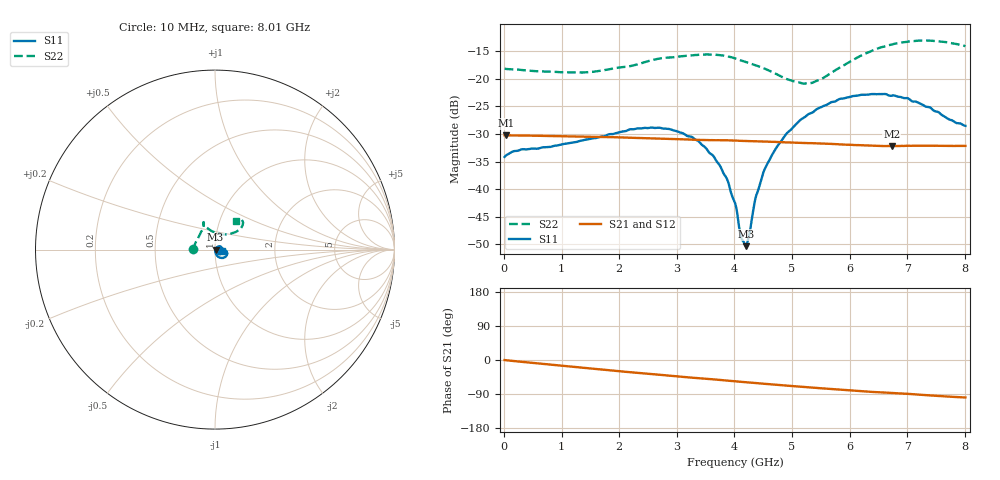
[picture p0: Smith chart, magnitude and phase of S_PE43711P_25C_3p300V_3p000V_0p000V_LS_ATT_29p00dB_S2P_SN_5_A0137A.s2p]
! Device ID: PE43711P
! File Path: z:\PE43711P\CHAR_NOM_04282014\AMB\3p300\LS_ATT_29p00dB\PE43711P_AMB_3p300V_3p000V_0p000V_LS_ATT_29p00dB_S2P_SN_5_A0137A.s2p
! Serial: 5
! Lot: A0137A
! Temp: 25C
! VDD: 3.300
! VSS: 0.000
! Control_Hi: 3.000
! Control_Lo: 0.000
! Attenuation Step: 29.00dB
! Port 1: RF1
! Port 2: RF2
! ThroughPath:1-2
! IDD: 0.000127979
! ISS: -3.99e-008
#  Hz  S  RI  R  50
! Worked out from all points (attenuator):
!   801 points, 10 MHz to 8.01 GHz, reference 50 ohm
!   highest |S21| = -30.25 dB at 30 MHz (marker M1); lowest = -32.2 dB at 6.73 GHz (marker M2)
!   lowest |S11| = -50.3 dB at 4.2 GHz (marker M3), VSWR 1.01, Z = 50.3 - j0.123 ohm
!   |S11| at or under -10 dB: start of sweep to end of sweep
!   |S22| runs from -20.9 to -13.1 dB; largest |S21 - S12| = 0.00011
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1e7  0.0196 0.000551  0.0307 -0.000116  0.0308 -0.000124  -0.1233 0.000982
3e7  0.0201 0.000943  0.0307 -0.000251  0.0308 -0.000274  -0.1227 0.00208
1.35e9  0.0266 0.00716  0.0281 -0.0103  0.0281 -0.0103  -0.0958 0.0615
2.2e9  0.0326 0.0125  0.0247 -0.0156  0.0247 -0.0156  -0.0697 0.1102
2.68e9  0.0319 0.0167  0.0224 -0.018  0.0224 -0.018  -0.0637 0.1379
3.25e9  0.0235 0.0184  0.0194 -0.0204  0.0194 -0.0204  -0.0617 0.1505
3.49e9  0.0173 0.0167  0.0181 -0.0211  0.0182 -0.0211  -0.0637 0.153
3.76e9  0.0102 0.0122  0.0168 -0.0221  0.0168 -0.0221  -0.0655 0.1497
3.88e9  0.00752 0.00938  0.0161 -0.0225  0.0161 -0.0225  -0.0653 0.1456
4.01e9  0.0052 0.00542  0.0153 -0.0229  0.0153 -0.0229  -0.0635 0.1394
4.12e9  0.0034 0.00116  0.0147 -0.0232  0.0147 -0.0232  -0.0594 0.1336
4.2e9  0.00279 -0.00123  0.0142 -0.0233  0.0142 -0.0233  -0.0557 0.1302
4.25e9  0.0022 -0.00298  0.0139 -0.0234  0.0139 -0.0234  -0.0532 0.1284
4.38e9  0.00173 -0.00865  0.0132 -0.0238  0.0132 -0.0237  -0.0467 0.1232
4.55e9  0.00275 -0.0159  0.0122 -0.0241  0.0122 -0.0241  -0.0372 0.1159
4.9e9  0.00871 -0.0305  0.0101 -0.0245  0.0101 -0.0245  -0.0109 0.0991
5.35e9  0.0243 -0.0429  0.00772 -0.0249  0.00774 -0.0249  0.0342 0.0853
5.84e9  0.0473 -0.0458  0.00504 -0.0249  0.00502 -0.0249  0.0903 0.0897
6.68e9  0.0673 -0.0215  0.00154 -0.0246  0.00155 -0.0245  0.1519 0.1323
6.73e9  0.0669 -0.0211  0.00138 -0.0245  0.0014 -0.0245  0.1532 0.1345
7.35e9  0.0553 -0.00458  -0.00126 -0.0247  -0.00126 -0.0247  0.1491 0.1645
8.01e9  0.0369 -0.00649  -0.00384 -0.0243  -0.00393 -0.0244  0.1187 0.1576
